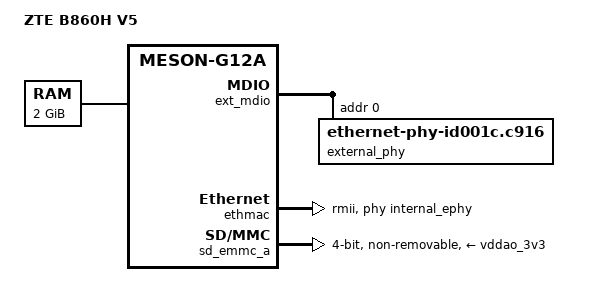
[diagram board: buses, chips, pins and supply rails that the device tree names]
// SPDX-License-Identifier: (GPL-2.0+ OR MIT)
/*
 * sibondt
 */

/dts-v1/;

#include "meson-g12a-x96-max.dts"

/ {
	compatible = "amlogic,u200", "amlogic,g12a";
	model = "ZTE B860H V5";

	memory@0 {
		device_type = "memory";
		reg = <0x0 0x0 0x0 0x80000000>;
	};
};

&ext_mdio {
	external_phy: ethernet-phy@0 {
	      compatible = "ethernet-phy-id001c.c916", "ethernet-phy-ieee802.3-c22";
	      reg = <0>;
	      max-speed = <1000>;
	      eee-broken-1000t;
	};
};

&ethmac {
        pinctrl-0 = <&eth_pins>;
        pinctrl-names = "default";
        status = "okay";
        phy-mode = "rmii";
        phy-handle = <&internal_ephy>;
};

/* SDIO */
&sd_emmc_a {
	status = "okay";
	pinctrl-0 = <&sdio_pins>;
	pinctrl-1 = <&sdio_clk_gate_pins>;
	pinctrl-names = "default", "clk-gate";
	#address-cells = <1>;
	#size-cells = <0>;

	bus-width = <4>;
	cap-sd-highspeed;
	sd-uhs-sdr50;
	sd-uhs-sdr104;
	max-frequency = <199999997>;

	non-removable;
	disable-wp;

	/* WiFi firmware requires power to be kept while in suspend */
	keep-power-in-suspend;

	mmc-pwrseq = <&sdio_pwrseq>;

	vmmc-supply = <&vddao_3v3>;
	vqmmc-supply = <&vddao_1v8>;
};
